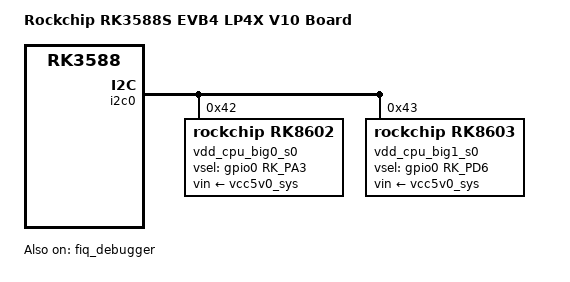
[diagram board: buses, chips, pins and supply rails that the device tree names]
// SPDX-License-Identifier: (GPL-2.0+ OR MIT)
/*
 * Copyright (c) 2021 Rockchip Electronics Co., Ltd.
 *
 */

/dts-v1/;

/* merage dtsi in rk3588s-evb4-lp4-v10-linux.dts */

#include "dt-bindings/usb/pd.h"
#include "../rk3588s.dtsi"
#include "../rk3588s-evb.dtsi"
#include "../rk3588-rk806-single.dtsi"
#include "../rk3588-linux.dtsi"

/ {
    model = "Rockchip RK3588S EVB4 LP4X V10 Board";
    compatible = "rockchip,rk3588s-evb4-lp4x-v10", "rockchip,rk3588";
};

&i2c0 {
    status = "okay";
    pinctrl-names = "default";
    pinctrl-0 = <&i2c0m2_xfer>;

    vdd_cpu_big0_s0: vdd_cpu_big0_mem_s0: rk8602@42 {
        compatible = "rockchip,rk8602";
        reg = <0x42>;
        vin-supply = <&vcc5v0_sys>;
        vsel-gpios = <&gpio0 RK_PA3 GPIO_ACTIVE_HIGH>;
        regulator-compatible = "rk860x-reg";
        regulator-name = "vdd_cpu_big0_s0";
        regulator-min-microvolt = <550000>;
        regulator-max-microvolt = <1050000>;
        regulator-ramp-delay = <2300>;
        rockchip,suspend-voltage-selector = <1>;
        regulator-boot-on;
        regulator-always-on;
        regulator-state-mem {
            regulator-off-in-suspend;
        };
    };

    vdd_cpu_big1_s0: vdd_cpu_big1_mem_s0: rk8603@43 {
        compatible = "rockchip,rk8603";
        reg = <0x43>;
        vin-supply = <&vcc5v0_sys>;
        vsel-gpios = <&gpio0 RK_PD6 GPIO_ACTIVE_HIGH>;
        regulator-compatible = "rk860x-reg";
        regulator-name = "vdd_cpu_big1_s0";
        regulator-min-microvolt = <550000>;
        regulator-max-microvolt = <1050000>;
        regulator-ramp-delay = <2300>;
        rockchip,suspend-voltage-selector = <1>;
        regulator-boot-on;
        regulator-always-on;
        regulator-state-mem {
            regulator-off-in-suspend;
        };
    };
};

&fiq_debugger {
    compatible = "rockchip,fiq-debugger";
    rockchip,serial-id = <2>;
    rockchip,wake-irq = <0>;
    /* If enable uart uses irq instead of fiq */
    rockchip,irq-mode-enable = <1>;
    rockchip,baudrate = <1500000>;  /* Only 115200 and 1500000 */
    interrupts = <GIC_SPI 423 IRQ_TYPE_LEVEL_LOW>;
    pinctrl-names = "default";
    pinctrl-0 = <&uart2m0_xfer>;
    status = "okay";
};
